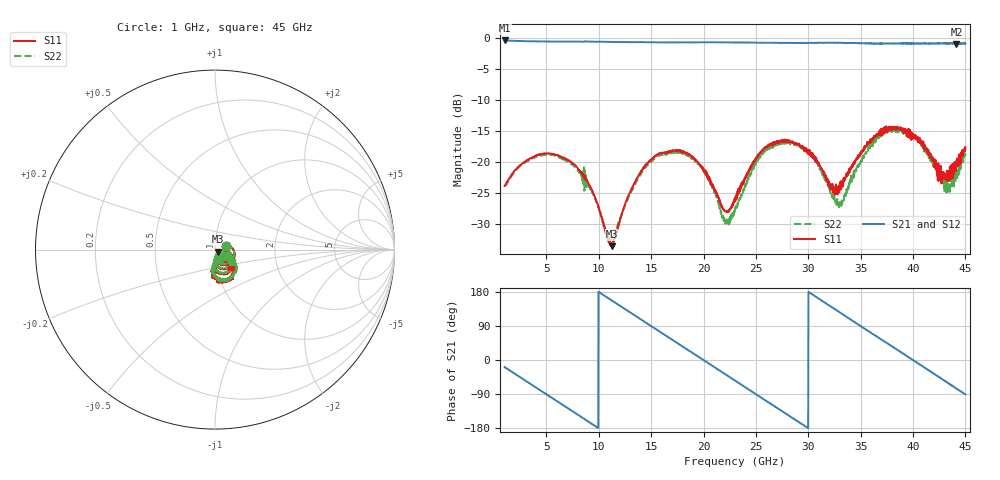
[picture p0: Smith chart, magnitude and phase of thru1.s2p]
!Keysight Technologies,N5247B,MY61255062,A.19.80.06
!Date: Thursday, May 21, 2026 12:05:53
!Correction: S11(Cdelta 2-Port  )
!S21(Cdelta 2-Port  )
!S12(Cdelta 2-Port  )
!S22(Cdelta 2-Port  )
!S2P File: Measurements: S11, S21, S12, S22:
# Hz S  dB  R 50
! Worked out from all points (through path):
!   1601 points, 1 GHz to 45 GHz, reference 50 ohm
!   highest |S21| = -0.47 dB at 1 GHz (marker M1); lowest = -1.0 dB at 44.15 GHz (marker M2)
!   group delay of S21, straight-line fit = 50 ps
!   lowest |S11| = -33.6 dB at 11.29 GHz (marker M3), VSWR 1.04, Z = 51.7 - j1.27 ohm
!   |S11| at or under -10 dB: start of sweep to end of sweep
!   |S22| runs from -32.7 to -14.6 dB; largest |S21 - S12| = 0.015
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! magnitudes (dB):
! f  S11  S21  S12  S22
! 1 GHz  -23.9  -0.5  -0.5  -24.0
! 4.768 GHz  -18.7  -0.6  -0.6  -18.9
! 8.342 GHz  -21.7  -0.7  -0.7  -22.4
! 11.29 GHz  -33.6  -0.7  -0.7  -32.3
! 13.43 GHz  -23.4  -0.7  -0.7  -23.7
! 15.69 GHz  -18.8  -0.8  -0.8  -19.1
! 18.88 GHz  -19.1  -0.8  -0.8  -19.6
! 20.39 GHz  -22.2  -0.8  -0.8  -22.6
! 22.01 GHz  -27.9  -0.8  -0.8  -29.2
! 23 GHz  -26.1  -0.8  -0.8  -27.4
! 24.82 GHz  -19.9  -0.8  -0.8  -21.0
! 26.14 GHz  -17.4  -0.9  -0.9  -18.1
! 28.09 GHz  -16.8  -0.9  -0.9  -17.0
! 30.34 GHz  -19.2  -0.8  -0.9  -18.9
! 32.3 GHz  -23.5  -0.8  -0.8  -25.4
! 33.01 GHz  -23.4  -0.8  -0.9  -26.5
! 35.79 GHz  -17.0  -0.9  -1.0  -18.1
! 37.69 GHz  -14.7  -1.0  -1.0  -15.0
! 40.44 GHz  -16.6  -0.9  -0.9  -16.4
! 42.91 GHz  -21.6  -0.9  -0.9  -23.3
! 44.15 GHz  -19.8  -1.0  -0.9  -22.6
! 45 GHz  -17.6  -1.0  -1.0  -18.6
